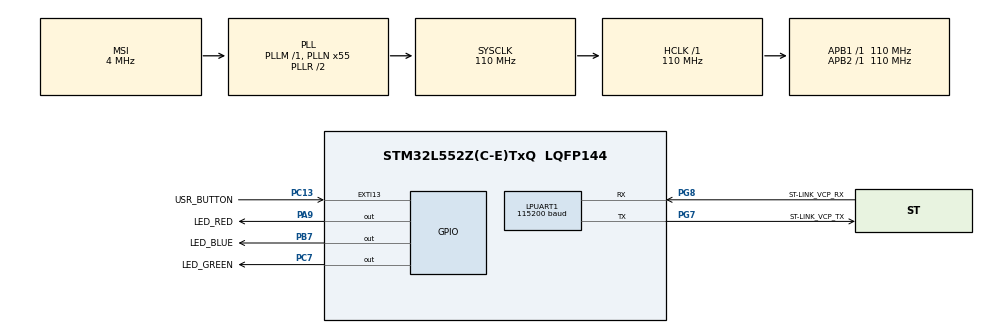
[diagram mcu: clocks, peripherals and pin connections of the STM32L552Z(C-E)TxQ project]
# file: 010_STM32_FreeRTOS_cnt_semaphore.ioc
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LPUART1.BaudRate=115200
Mcu.Family=STM32L5
Mcu.Name=STM32L552Z(C-E)TxQ
Mcu.Package=LQFP144
Mcu.TrustZone=disable
NVIC.EXTI13_IRQn=true\:0\:0\:false\:false\:true\:true\:true
NVIC.LPUART1_IRQn=true\:0\:0\:false\:false\:true\:true\:true
NVIC.PriorityGroup=NVIC_PRIORITYGROUP_3
PA13\ (JTMS/SWDIO).Mode=Trace_Asynchronous_SW
PA13\ (JTMS/SWDIO).Signal=DEBUG_JTMS-SWDIO
PA14\ (JTCK/SWCLK).Mode=Trace_Asynchronous_SW
PA14\ (JTCK/SWCLK).Signal=DEBUG_JTCK-SWCLK
PA9.GPIO_Label=LED_RED
PA9.Signal=GPIO_Output
PB3\ (JTDO/TRACESWO).Mode=Trace_Asynchronous_SW
PB3\ (JTDO/TRACESWO).Signal=DEBUG_JTDO-SWO
PB7.GPIO_Label=LED_BLUE
PB7.Signal=GPIO_Output
PC13.GPIO_Label=USR_BUTTON
PC13.Signal=GPXTI13
PC14-OSC32_IN\ (PC14).Mode=LSE-External-Oscillator
PC14-OSC32_IN\ (PC14).Signal=RCC_OSC32_IN
PC15-OSC32_OUT\ (PC15).Mode=LSE-External-Oscillator
PC15-OSC32_OUT\ (PC15).Signal=RCC_OSC32_OUT
PC7.GPIO_Label=LED_GREEN
PC7.Signal=GPIO_Output
PG7.GPIO_Label=ST-LINK_VCP_TX
PG7.Mode=Asynchronous
PG7.Signal=LPUART1_TX
PG8.GPIO_Label=ST-LINK_VCP_RX
PG8.Mode=Asynchronous
PG8.Signal=LPUART1_RX
ProjectManager.HeapSize=0x200
ProjectManager.StackSize=0x400
ProjectManager.TargetToolchain=STM32CubeIDE
RCC.ADCCLockSelection=RCC_ADCCLKSOURCE_SYSCLK
RCC.ADCFreq_Value=110000000
RCC.AHBFreq_Value=110000000
RCC.APB1Freq_Value=110000000
RCC.APB1TimFreq_Value=110000000
RCC.APB2Freq_Value=110000000
RCC.APB2TimFreq_Value=110000000
RCC.CK48CLockSelection=RCC_USBCLKSOURCE_HSI48
RCC.CortexFreq_Value=110000000
RCC.HCLKFreq_Value=110000000
RCC.HSE_VALUE=8000000
RCC.HSI48_VALUE=48000000
RCC.HSI_VALUE=16000000
RCC.MSI_VALUE=4000000
RCC.PLLN=55
RCC.PLLSAI1N=24
RCC.RTCClockSelection=RCC_RTCCLKSOURCE_LSE
RCC.SYSCLKFreq_VALUE=110000000
RCC.SYSCLKSource=RCC_SYSCLKSOURCE_PLLCLK
RCC.USBFreq_Value=48000000
RCC.VCOOutputFreq_Value=220000000
VP_PWR_VS_DBSignals.Mode=DisableDeadBatterySignals
VP_PWR_VS_SECSignals.Mode=Security/Privilege
board=NUCLEO-L552ZE-Q

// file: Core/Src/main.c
/* USER CODE BEGIN Header */
/**
 ******************************************************************************
 * @file           : main.c
 * @brief          : Example 010: Counting semaphore in FreeRTOS for NUCLEO-L552.
 *
 * @details There are two tasks:
 *              1. Handler task
 *              2. Periodic task
 *
 * A Counting semaphore was used to process latched events (produced by the
 * handler task) sent by fast triggering interrupts.
 *
 * Note: The periodic task priority is higher than the handler task priority .
 ******************************************************************************
 * @attention
 *
 * <h2><center>&copy; Copyright 2021 Leandro Medus.
 * All rights reserved.</center></h2>
 *
 * Permission is hereby granted, free of charge, to any person obtaining a copy
 * of this software and associated documentation files (the "Software"), to deal
 * in the Software without restriction, including without limitation the rights
 * to use, copy, modify, merge, publish, distribute, sublicense, and/or sell
 * copies of the Software, and to permit persons to whom the Software is
 * furnished to do so, subject to the following conditions:
 *
 * The above copyright notice and this permission notice shall be included in all
 * copies or substantial portions of the Software.
 *
 * THE SOFTWARE IS PROVIDED "AS IS", WITHOUT WARRANTY OF ANY KIND, EXPRESS OR
 * IMPLIED, INCLUDING BUT NOT LIMITED TO THE WARRANTIES OF MERCHANTABILITY,
 * FITNESS FOR A PARTICULAR PURPOSE AND NONINFRINGEMENT. IN NO EVENT SHALL THE
 * AUTHORS OR COPYRIGHT HOLDERS BE LIABLE FOR ANY CLAIM, DAMAGES OR OTHER
 * LIABILITY, WHETHER IN AN ACTION OF CONTRACT, TORT OR OTHERWISE, ARISING FROM,
 * OUT OF OR IN CONNECTION WITH THE SOFTWARE OR THE USE OR OTHER DEALINGS IN THE
 * SOFTWARE.
 *
 ******************************************************************************
 */

/*
 * Other useful functions:
 *
 *      SEGGER_SYSVIEW_PrintfTarget("Task-1 is yielding");
 *      traceISR_ENTER();
 *      traceISR_EXIT();
 *      traceISR_EXIT_TO_SCHEDULER();
 *      taskYIELD();
 * */

/* USER CODE END Header */
#include "main.h"

/* USER CODE BEGIN Includes */
#include "FreeRTOS.h"
#include "task.h"
#include "queue.h"
#include "semphr.h"
#include "timers.h"

#include <stdio.h>
#include <stdlib.h>
#include <string.h>
//#include <stdbool.h>
/* USER CODE END Includes */

/* USER CODE BEGIN PTD */
#define TRUE                1
#define FALSE               0

#define DWT_CTRL    (*(volatile uint32_t*)0xE0001000)       /* Data Watchpoint and Trace Unit */
/* USER CODE END PTD */

UART_HandleTypeDef hlpuart1;

/* USER CODE BEGIN PV */

char usr_msg[250] = {0};

TaskHandle_t xTaskHandleM = NULL;
TaskHandle_t xTaskHandleE = NULL;

/* Declare a variable of type xSemaphoreHandle.  This is used to reference the
semaphore that is used to synchronize a task with an interrupt. */
SemaphoreHandle_t xCountingSemaphore;

/* this is the queue which manager uses to put the work ticket id */
QueueHandle_t xWorkQueue;

/* USER CODE END PV */

void SystemClock_Config(void);
static void MX_GPIO_Init(void);
static void MX_LPUART1_UART_Init(void);
/* USER CODE BEGIN PFP */

void sendString(char *msg);
static void vHandlerTask( void *pvParameters );
static void vPeriodicTask( void *pvParameters );

/* The service routine for the interrupt.  This is the interrupt that the
task will be synchronized with. */
void vSoftwareInterruptHandler( void );

/* USER CODE END PFP */

int main(void)
{
    /* USER CODE BEGIN 1 */
    BaseType_t status;

    char msg_program_init [] = "[info] ---- Example 010: Counting semaphore in FreeRTOS for NUCLEO-L552. ----\r\n";

    /* USER CODE END 1 */

    /* MCU Configuration--------------------------------------------------------*/

    /* Reset of all peripherals, Initializes the Flash interface and the Systick. */
    HAL_Init();

    /* Configure the system clock */
    SystemClock_Config();

    /* Initialize all configured peripherals */
    MX_GPIO_Init();
    MX_LPUART1_UART_Init();
    /* USER CODE BEGIN 2 */

    DWT_CTRL |= ( 1 << 0);                      // Enable the CYCCNT counter. (to maintain time stamps in Segger)

    sendString(msg_program_init);               // send program description with UART

    SEGGER_SYSVIEW_Conf();
    SEGGER_SYSVIEW_Start();                     // Start recording with SEGGER

    /* Before a semaphore is used it must be explicitly created.  In this example
    a counting semaphore is created.  The semaphore is created to have a maximum
    count value of 10, and an initial count value of 0. */
    xCountingSemaphore = xSemaphoreCreateCounting( 10, 0 );

    /* Check the semaphore was created successfully. */
    if( xCountingSemaphore != NULL )
    {
        /* Create the 'handler' task.  This is the task that will be synchronized
        with the interrupt.  The handler task is created with a high priority to
        ensure it runs immediately after the interrupt exits.  In this case a
        priority of 3 is chosen. */
        status = xTaskCreate( vHandlerTask, "Handler", 500, NULL, 1, NULL );

        configASSERT(status == pdPASS);

        /* Create the task that will periodically generate a software interrupt.
        This is created with a priority below the handler task to ensure it will
        get preempted each time the handler task exist the Blocked state. */
        status = xTaskCreate( vPeriodicTask, "Periodic", 500, NULL, 3, NULL );

        configASSERT(status == pdPASS);

        /* Start the scheduler so the created tasks start executing. */
        vTaskStartScheduler();
    }

    /* USER CODE END 2 */

    /* Infinite loop */
    /* USER CODE BEGIN WHILE */
    while (1)
    {
        /* If all is well we will never reach here as the scheduler will now be
        running the tasks.  If we do reach here then it is likely that there was
        insufficient heap memory available for a resource to be created. */

        /* USER CODE END WHILE */

    }
}

void SystemClock_Config(void)
{
    RCC_OscInitTypeDef RCC_OscInitStruct = {0};
    RCC_ClkInitTypeDef RCC_ClkInitStruct = {0};

    /** Configure the main internal regulator output voltage
     */
    if (HAL_PWREx_ControlVoltageScaling(PWR_REGULATOR_VOLTAGE_SCALE0) != HAL_OK)
    {
        Error_Handler();
    }
    /** Initializes the RCC Oscillators according to the specified parameters
     * in the RCC_OscInitTypeDef structure.
     */
    RCC_OscInitStruct.OscillatorType = RCC_OSCILLATORTYPE_MSI;
    RCC_OscInitStruct.MSIState = RCC_MSI_ON;
    RCC_OscInitStruct.MSICalibrationValue = RCC_MSICALIBRATION_DEFAULT;
    RCC_OscInitStruct.MSIClockRange = RCC_MSIRANGE_6;
    RCC_OscInitStruct.PLL.PLLState = RCC_PLL_ON;
    RCC_OscInitStruct.PLL.PLLSource = RCC_PLLSOURCE_MSI;
    RCC_OscInitStruct.PLL.PLLM = 1;
    RCC_OscInitStruct.PLL.PLLN = 55;
    RCC_OscInitStruct.PLL.PLLP = RCC_PLLP_DIV7;
    RCC_OscInitStruct.PLL.PLLQ = RCC_PLLQ_DIV2;
    RCC_OscInitStruct.PLL.PLLR = RCC_PLLR_DIV2;
    if (HAL_RCC_OscConfig(&RCC_OscInitStruct) != HAL_OK)
    {
        Error_Handler();
    }
    /** Initializes the CPU, AHB and APB buses clocks
     */
    RCC_ClkInitStruct.ClockType = RCC_CLOCKTYPE_HCLK|RCC_CLOCKTYPE_SYSCLK
            |RCC_CLOCKTYPE_PCLK1|RCC_CLOCKTYPE_PCLK2;
    RCC_ClkInitStruct.SYSCLKSource = RCC_SYSCLKSOURCE_PLLCLK;
    RCC_ClkInitStruct.AHBCLKDivider = RCC_SYSCLK_DIV1;
    RCC_ClkInitStruct.APB1CLKDivider = RCC_HCLK_DIV1;
    RCC_ClkInitStruct.APB2CLKDivider = RCC_HCLK_DIV1;

    if (HAL_RCC_ClockConfig(&RCC_ClkInitStruct, FLASH_LATENCY_5) != HAL_OK)
    {
        Error_Handler();
    }
}

static void MX_LPUART1_UART_Init(void)
{

    hlpuart1.Instance = LPUART1;
    hlpuart1.Init.BaudRate = 115200;
    hlpuart1.Init.WordLength = UART_WORDLENGTH_8B;
    hlpuart1.Init.StopBits = UART_STOPBITS_1;
    hlpuart1.Init.Parity = UART_PARITY_NONE;
    hlpuart1.Init.Mode = UART_MODE_TX_RX;
    hlpuart1.Init.HwFlowCtl = UART_HWCONTROL_NONE;
    hlpuart1.Init.OneBitSampling = UART_ONE_BIT_SAMPLE_DISABLE;
    hlpuart1.Init.ClockPrescaler = UART_PRESCALER_DIV1;
    hlpuart1.AdvancedInit.AdvFeatureInit = UART_ADVFEATURE_NO_INIT;
    hlpuart1.FifoMode = UART_FIFOMODE_DISABLE;
    if (HAL_UART_Init(&hlpuart1) != HAL_OK)
    {
        Error_Handler();
    }
    if (HAL_UARTEx_SetTxFifoThreshold(&hlpuart1, UART_TXFIFO_THRESHOLD_1_8) != HAL_OK)
    {
        Error_Handler();
    }
    if (HAL_UARTEx_SetRxFifoThreshold(&hlpuart1, UART_RXFIFO_THRESHOLD_1_8) != HAL_OK)
    {
        Error_Handler();
    }
    if (HAL_UARTEx_DisableFifoMode(&hlpuart1) != HAL_OK)
    {
        Error_Handler();
    }
    /* USER CODE BEGIN LPUART1_Init 2 */

    // enabling interrupt for the flag
    __HAL_UART_ENABLE_IT(&hlpuart1, UART_IT_RXNE);

    /* USER CODE END LPUART1_Init 2 */

}

static void MX_GPIO_Init(void)
{
    GPIO_InitTypeDef GPIO_InitStruct = {0};

    /* GPIO Ports Clock Enable */
    __HAL_RCC_GPIOC_CLK_ENABLE();
    __HAL_RCC_GPIOG_CLK_ENABLE();
    HAL_PWREx_EnableVddIO2();
    __HAL_RCC_GPIOA_CLK_ENABLE();
    __HAL_RCC_GPIOB_CLK_ENABLE();

    /*Configure GPIO pin Output Level */
    HAL_GPIO_WritePin(LED_GREEN_GPIO_Port, LED_GREEN_Pin, GPIO_PIN_RESET);

    /*Configure GPIO pin Output Level */
    HAL_GPIO_WritePin(LED_RED_GPIO_Port, LED_RED_Pin, GPIO_PIN_RESET);

    /*Configure GPIO pin Output Level */
    HAL_GPIO_WritePin(LED_BLUE_GPIO_Port, LED_BLUE_Pin, GPIO_PIN_RESET);

    /*Configure GPIO pin : USR_BUTTON_Pin */
    GPIO_InitStruct.Pin = USR_BUTTON_Pin;
    GPIO_InitStruct.Mode = GPIO_MODE_IT_RISING;
    GPIO_InitStruct.Pull = GPIO_NOPULL;
    HAL_GPIO_Init(USR_BUTTON_GPIO_Port, &GPIO_InitStruct);

    /*Configure GPIO pin : LED_GREEN_Pin */
    GPIO_InitStruct.Pin = LED_GREEN_Pin;
    GPIO_InitStruct.Mode = GPIO_MODE_OUTPUT_PP;
    GPIO_InitStruct.Pull = GPIO_NOPULL;
    GPIO_InitStruct.Speed = GPIO_SPEED_FREQ_LOW;
    HAL_GPIO_Init(LED_GREEN_GPIO_Port, &GPIO_InitStruct);

    /*Configure GPIO pin : LED_RED_Pin */
    GPIO_InitStruct.Pin = LED_RED_Pin;
    GPIO_InitStruct.Mode = GPIO_MODE_OUTPUT_PP;
    GPIO_InitStruct.Pull = GPIO_NOPULL;
    GPIO_InitStruct.Speed = GPIO_SPEED_FREQ_LOW;
    HAL_GPIO_Init(LED_RED_GPIO_Port, &GPIO_InitStruct);

    /*Configure GPIO pin : LED_BLUE_Pin */
    GPIO_InitStruct.Pin = LED_BLUE_Pin;
    GPIO_InitStruct.Mode = GPIO_MODE_OUTPUT_PP;
    GPIO_InitStruct.Pull = GPIO_NOPULL;
    GPIO_InitStruct.Speed = GPIO_SPEED_FREQ_LOW;
    HAL_GPIO_Init(LED_BLUE_GPIO_Port, &GPIO_InitStruct);

    /* EXTI interrupt init*/
    HAL_NVIC_SetPriority(EXTI13_IRQn, 0, 0);
    HAL_NVIC_EnableIRQ(EXTI13_IRQn);

}

/* USER CODE BEGIN 4 */

/* --------------------------------------------------------------------------*/

/**
 * @brief  This function send a string using the UART
 * @retval None
 */
void sendString(char *msg)
{
    sprintf(usr_msg, msg);

    // sending a string
    HAL_UART_Transmit(&hlpuart1, (uint8_t *) usr_msg, strlen(usr_msg), 100);
}

/**
 * @brief
 * @details
 *
 * @retval None
 */
static void vHandlerTask( void *pvParameters )
{
    /* As per most tasks, this task is implemented within an infinite loop. */
    for( ;; )
    {
        /* Use the semaphore to wait for the event.  The semaphore was created
        before the scheduler was started so before this task ran for the first
        time.  The task blocks indefinitely meaning this function call will only
        return once the semaphore has been successfully obtained - so there is no
        need to check the returned value. */
        xSemaphoreTake( xCountingSemaphore, portMAX_DELAY );

        /* To get here the event must have occurred.  Process the event (in this
        case we just print out a message). */
        sprintf(usr_msg, "Handler task - Processing event.\r\n");
        sendString(usr_msg);
    }
}

/**
 * @brief
 * @details
 *
 * @retval None
 */
static void vPeriodicTask( void *pvParameters )
{
    /* As per most tasks, this task is implemented within an infinite loop. */
    for( ;; )
    {
        /* This task is just used to 'simulate' an interrupt.  This is done by
        periodically generating a software interrupt. */
        vTaskDelay( pdMS_TO_TICKS(500) );

        /* Generate the interrupt, printing a message both before hand and
        afterwards so the sequence of execution is evident from the output. */
        sprintf(usr_msg, "Periodic task - Pending the interrupt.\r\n" );
        sendString(usr_msg);

        //pend the interrupt
        NVIC_SetPendingIRQ(EXTI13_IRQn);

        sprintf(usr_msg, "Periodic task - Resuming.\r\n" );
        sendString(usr_msg);

    }
}

void sim_IRQ_Handler( void )
{
    portBASE_TYPE xHigherPriorityTaskWoken = pdFALSE;

    /* 'Give' the semaphore multiple times.  The first will unblock the handler
    task, the following 'gives' are to demonstrate that the semaphore latches
    the events to allow the handler task to process them in turn without any
    events getting lost.  This simulates multiple interrupts being taken by the
    processor, even though in this case the events are simulated within a single
    interrupt occurrence.*/
    sprintf(usr_msg,"==> Button_Handler\r\n");
    sendString(usr_msg);

    xSemaphoreGiveFromISR( xCountingSemaphore, &xHigherPriorityTaskWoken );
    xSemaphoreGiveFromISR( xCountingSemaphore, &xHigherPriorityTaskWoken );
    xSemaphoreGiveFromISR( xCountingSemaphore, &xHigherPriorityTaskWoken );
    xSemaphoreGiveFromISR( xCountingSemaphore, &xHigherPriorityTaskWoken );
    xSemaphoreGiveFromISR( xCountingSemaphore, &xHigherPriorityTaskWoken );

    /* Clear the software interrupt bit using the interrupt controllers  */

    /* Giving the semaphore may have unblocked a task - if it did and the
    unblocked task has a priority equal to or above the currently executing
    task then xHigherPriorityTaskWoken will have been set to pdTRUE and
    portEND_SWITCHING_ISR() will force a context switch to the newly unblocked
    higher priority task.

    NOTE: The syntax for forcing a context switch within an ISR varies between
    FreeRTOS ports.  The portEND_SWITCHING_ISR() macro is provided as part of
    the Cortex M3 port layer for this purpose.  taskYIELD() must never be called
    from an ISR! */
    portEND_SWITCHING_ISR( xHigherPriorityTaskWoken );
}

/* --------------------------------------------------------------------------*/
/* USER CODE END 4 */

void Error_Handler(void)
{
    /* USER CODE BEGIN Error_Handler_Debug */
    /* User can add his own implementation to report the HAL error return state */
    __disable_irq();
    while (1)
    {
        __NOP();
    }
    /* USER CODE END Error_Handler_Debug */
}

/************************ (C) COPYRIGHT STMicroelectronics *****END OF FILE****/
